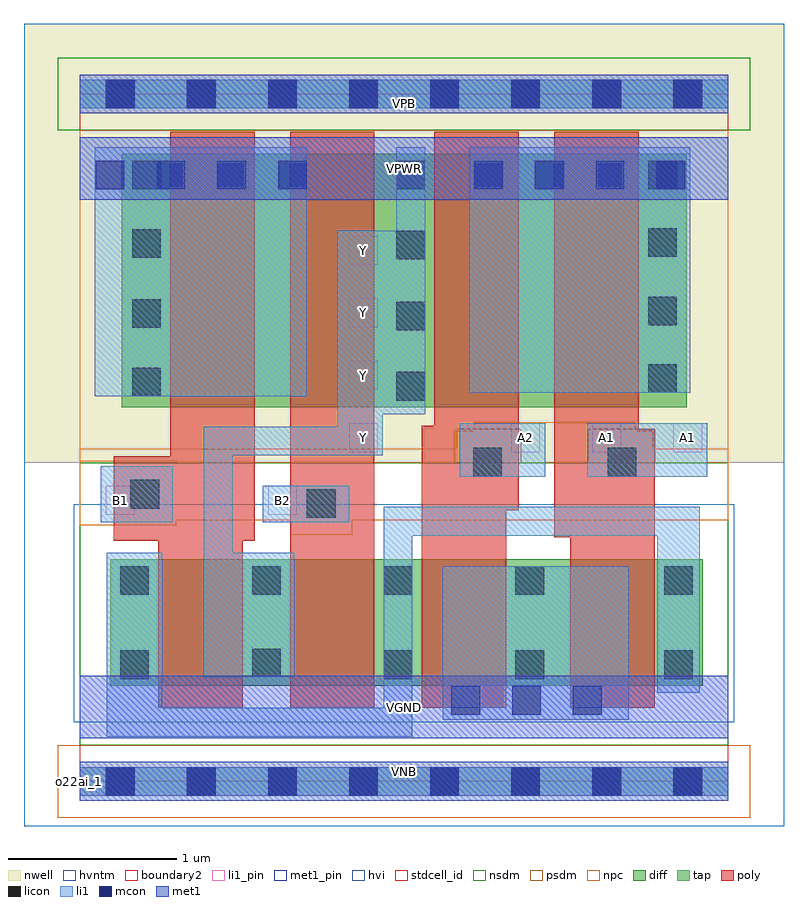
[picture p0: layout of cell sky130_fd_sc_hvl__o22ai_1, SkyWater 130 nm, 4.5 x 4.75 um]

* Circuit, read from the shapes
.subckt sky130_fd_sc_hvl__o22ai_1 A1 A2 B1 B2 VGND VNB VPB VPWR Y
XM1 Y B1 n1 VNB sky130_fd_pr__nfet_g5v0d10v5 w=0.75 l=0.5
XM2 n1 B2 Y VNB sky130_fd_pr__nfet_g5v0d10v5 w=0.75 l=0.5
XM3 VGND A2 n1 VNB sky130_fd_pr__nfet_g5v0d10v5 w=0.75 l=0.5
XM4 n1 A1 VGND VNB sky130_fd_pr__nfet_g5v0d10v5 w=0.75 l=0.5
XM5 n2 B1 VPWR VPB sky130_fd_pr__pfet_g5v0d10v5 w=1.5 l=0.5
XM6 Y B2 n2 VPB sky130_fd_pr__pfet_g5v0d10v5 w=1.5 l=0.5
XM7 n3 A2 Y VPB sky130_fd_pr__pfet_g5v0d10v5 w=1.5 l=0.5
XM8 VPWR A1 n3 VPB sky130_fd_pr__pfet_g5v0d10v5 w=1.5 l=0.5
.ends

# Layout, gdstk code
import gdstk
lib = gdstk.Library(unit=1e-6, precision=1e-09)
def R(c, l, rs):  # rectangles x0, y0, x1, y1
    for r in rs: c.add(gdstk.rectangle(r[:2], r[2:], *l))
def A(c, l, x, y, w, h, nx, ny, dx, dy):  # array of equal rectangles
    R(c, l, [(x+i*dx, y+j*dy, x+i*dx+w, y+j*dy+h) for i in range(nx) for j in range(ny)])
def P(c, l, *ps):  # polygons
    for p in ps: c.add(gdstk.Polygon(p, *l))
nwell = (64, 20)
diff = (65, 20)
tap = (65, 44)
poly = (66, 20)
licon = (66, 44)
li1_pin = (67, 16)
li1 = (67, 20)
mcon = (67, 44)
met1_pin = (68, 16)
met1 = (68, 20)
hvi = (75, 20)
stdcell_id = (81, 4)
nsdm = (93, 44)
psdm = (94, 20)
npc = (95, 20)
hvntm = (125, 20)
boundary2 = (236, 0)

sky130_fd_sc_hvl__o22ai_ = lib.new_cell('sky130_fd_sc_hvl__o22ai_1')
R(sky130_fd_sc_hvl__o22ai_, nwell, [(-0.33,1.885,4.17,4.485)])
R(sky130_fd_sc_hvl__o22ai_, diff, [(0.18,0.565,3.69,1.315), (0.25,2.215,3.595,3.715)])
R(sky130_fd_sc_hvl__o22ai_, tap, [(0,-0.085,3.84,0.085), (0,3.985,3.84,4.155)])
R(sky130_fd_sc_hvl__o22ai_, poly, [(1.245,0.435,1.745,3.845)])
P(sky130_fd_sc_hvl__o22ai_, poly, [(1.035,3.845),(0.535,3.845),(0.535,1.925),(0.2,1.925),(0.2,1.425),(0.465,1.425),(0.465,0.435),(0.965,0.435),(0.965,1.425),(1.035,1.425)],
  [(2.6,3.845),(2.1,3.845),(2.1,2.105),(2.025,2.105),(2.025,0.435),(2.525,0.435),(2.525,1.605),(2.6,1.605)],
  [(3.405,2.085),(3.31,2.085),(3.31,3.845),(2.81,3.845),(2.81,1.445),(2.905,1.445),(2.905,0.435),(3.405,0.435)])
A(sky130_fd_sc_hvl__o22ai_, licon, 0.155, -0.085, 0.17, 0.17, 8, 2, 0.48, 4.07)
A(sky130_fd_sc_hvl__o22ai_, licon, 0.24, 1.105, 0.17, 0.17, 4, 1, 0.78, 0)
R(sky130_fd_sc_hvl__o22ai_, licon, [(0.24,0.605,0.41,0.775), (1.8,0.605,1.97,0.775), (2.58,0.605,2.75,0.775), (3.46,0.605,3.63,0.775), (1.02,0.615,1.19,0.785), (3.46,1.105,3.63,1.275), (1.345,1.56,1.515,1.73), (0.3,1.615,0.47,1.785), (2.33,1.805,2.5,1.975), (3.125,1.805,3.295,1.975), (1.875,2.255,2.045,2.425), (0.31,2.28,0.48,2.45), (3.365,2.3,3.535,2.47), (1.875,2.67,2.045,2.84), (0.31,2.685,0.48,2.855), (3.365,2.7,3.535,2.87), (1.875,3.09,2.045,3.26), (0.31,3.1,0.48,3.27), (3.365,3.105,3.535,3.275), (0.31,3.505,0.48,3.675), (1.875,3.505,2.045,3.675), (3.365,3.505,3.535,3.675)])
A(sky130_fd_sc_hvl__o22ai_, li1_pin, 1.595, 1.95, 0.17, 0.17, 1, 4, 0, 0.37)
A(sky130_fd_sc_hvl__o22ai_, li1_pin, 2.555, 1.95, 0.17, 0.17, 3, 1, 0.48, 0)
R(sky130_fd_sc_hvl__o22ai_, li1_pin, [(0.155,1.58,0.325,1.75), (1.115,1.58,1.285,1.75)])
R(sky130_fd_sc_hvl__o22ai_, li1, [(0,-0.085,3.84,0.085), (2.15,0.365,3.25,1.275), (0.125,1.535,0.55,1.865), (1.085,1.535,1.595,1.75), (2.25,1.805,2.755,2.12), (3.005,1.805,3.715,2.12), (0.09,2.28,1.345,3.755), (2.305,2.3,3.615,3.755), (0,3.985,3.84,4.155)])
P(sky130_fd_sc_hvl__o22ai_, li1, [(2.045,3.755),(1.875,3.755),(1.875,3.26),(1.525,3.26),(1.525,2.1),(0.735,2.1),(0.735,0.615),(1.27,0.615),(1.27,1.355),(0.905,1.355),(0.905,1.93),(1.795,1.93),(1.795,2.175),(2.045,2.175)],
  [(3.67,1.625),(1.8,1.625),(1.8,0.435),(0.49,0.435),(0.49,1.355),(0.16,1.355),(0.16,0.265),(1.97,0.265),(1.97,1.455),(3.42,1.455),(3.42,0.525),(3.67,0.525)])
A(sky130_fd_sc_hvl__o22ai_, mcon, 2.2, 0.395, 0.17, 0.17, 3, 1, 0.36, 0)
A(sky130_fd_sc_hvl__o22ai_, mcon, 0.095, 3.505, 0.17, 0.17, 4, 1, 0.36, 0)
A(sky130_fd_sc_hvl__o22ai_, mcon, 2.335, 3.505, 0.17, 0.17, 4, 1, 0.36, 0)
R(sky130_fd_sc_hvl__o22ai_, mcon, [(0.155,-0.085,0.325,0.085), (0.155,-0.085,0.325,0.085), (0.635,-0.085,0.805,0.085), (0.635,-0.085,0.805,0.085), (1.115,-0.085,1.285,0.085), (1.115,-0.085,1.285,0.085), (1.595,-0.085,1.765,0.085), (1.595,-0.085,1.765,0.085), (2.075,-0.085,2.245,0.085), (2.075,-0.085,2.245,0.085), (2.555,-0.085,2.725,0.085), (2.555,-0.085,2.725,0.085), (3.035,-0.085,3.205,0.085), (3.035,-0.085,3.205,0.085), (3.515,-0.085,3.685,0.085), (3.515,-0.085,3.685,0.085), (0.155,3.985,0.325,4.155), (0.155,3.985,0.325,4.155), (0.635,3.985,0.805,4.155), (0.635,3.985,0.805,4.155), (1.115,3.985,1.285,4.155), (1.115,3.985,1.285,4.155), (1.595,3.985,1.765,4.155), (1.595,3.985,1.765,4.155), (2.075,3.985,2.245,4.155), (2.075,3.985,2.245,4.155), (2.555,3.985,2.725,4.155), (2.555,3.985,2.725,4.155), (3.035,3.985,3.205,4.155), (3.035,3.985,3.205,4.155), (3.515,3.985,3.685,4.155), (3.515,3.985,3.685,4.155)])
R(sky130_fd_sc_hvl__o22ai_, met1_pin, [(0,0,3.84,0.115), (0,0.255,3.84,0.625), (0,3.445,3.84,3.815), (0,3.955,3.84,4.07)])
R(sky130_fd_sc_hvl__o22ai_, met1, [(0,-0.115,3.84,0.115), (0,0.255,3.84,0.625), (0,3.445,3.84,3.815), (0,3.955,3.84,4.185)])
R(sky130_fd_sc_hvl__o22ai_, hvi, [(-0.33,-0.265,4.17,4.485)])
R(sky130_fd_sc_hvl__o22ai_, stdcell_id, [(0,0,3.84,4.07)])
R(sky130_fd_sc_hvl__o22ai_, nsdm, [(0,0.215,3.84,1.885), (-0.13,3.855,3.97,4.285), (0,3.855,3.84,4.07)])
R(sky130_fd_sc_hvl__o22ai_, psdm, [(-0.13,-0.215,3.97,0.215)])
P(sky130_fd_sc_hvl__o22ai_, psdm, [(3.84,3.855),(0,3.855),(0,1.895),(0.58,1.895),(0.58,1.885),(2.22,1.885),(2.22,2.085),(2.61,2.085),(2.61,1.885),(3.015,1.885),(3.015,2.085),(3.405,2.085),(3.405,1.885),(3.84,1.885)])
P(sky130_fd_sc_hvl__o22ai_, npc, [(3.84,1.97),(3.395,1.97),(3.395,2.075),(3.29,2.075),(3.29,2.125),(2.335,2.125),(2.335,2.075),(2.23,2.075),(2.23,1.97),(0,1.97),(0,1.515),(0.57,1.515),(0.57,1.545),(1.245,1.545),(1.245,1.46),(1.615,1.46),(1.615,1.545),(3.84,1.545)])
R(sky130_fd_sc_hvl__o22ai_, hvntm, [(-0.035,0.35,3.875,1.64)])
R(sky130_fd_sc_hvl__o22ai_, boundary2, [(0,0,3.84,4.07)])
sky130_fd_sc_hvl__o22ai_.add(gdstk.Label('o22ai_1', (0,0), layer=83, texttype=44))
sky130_fd_sc_hvl__o22ai_.add(gdstk.Label('VGND', (1.92,0.44), layer=68, texttype=5))
sky130_fd_sc_hvl__o22ai_.add(gdstk.Label('VNB', (1.92,0.058), layer=68, texttype=5))
sky130_fd_sc_hvl__o22ai_.add(gdstk.Label('VPWR', (1.92,3.63), layer=68, texttype=5))
sky130_fd_sc_hvl__o22ai_.add(gdstk.Label('VPB', (1.92,4.013), layer=68, texttype=5))
sky130_fd_sc_hvl__o22ai_.add(gdstk.Label('A1', (3.12,2.035), layer=67, texttype=5))
sky130_fd_sc_hvl__o22ai_.add(gdstk.Label('A1', (3.6,2.035), layer=67, texttype=5))
sky130_fd_sc_hvl__o22ai_.add(gdstk.Label('A2', (2.64,2.035), layer=67, texttype=5))
sky130_fd_sc_hvl__o22ai_.add(gdstk.Label('B1', (0.24,1.665), layer=67, texttype=5))
sky130_fd_sc_hvl__o22ai_.add(gdstk.Label('B2', (1.2,1.665), layer=67, texttype=5))
sky130_fd_sc_hvl__o22ai_.add(gdstk.Label('Y', (1.68,2.035), layer=67, texttype=5))
sky130_fd_sc_hvl__o22ai_.add(gdstk.Label('Y', (1.68,2.405), layer=67, texttype=5))
sky130_fd_sc_hvl__o22ai_.add(gdstk.Label('Y', (1.68,2.775), layer=67, texttype=5))
sky130_fd_sc_hvl__o22ai_.add(gdstk.Label('Y', (1.68,3.145), layer=67, texttype=5))

lib.write_gds('sky130_fd_sc_hvl__o22ai_1.gds')
